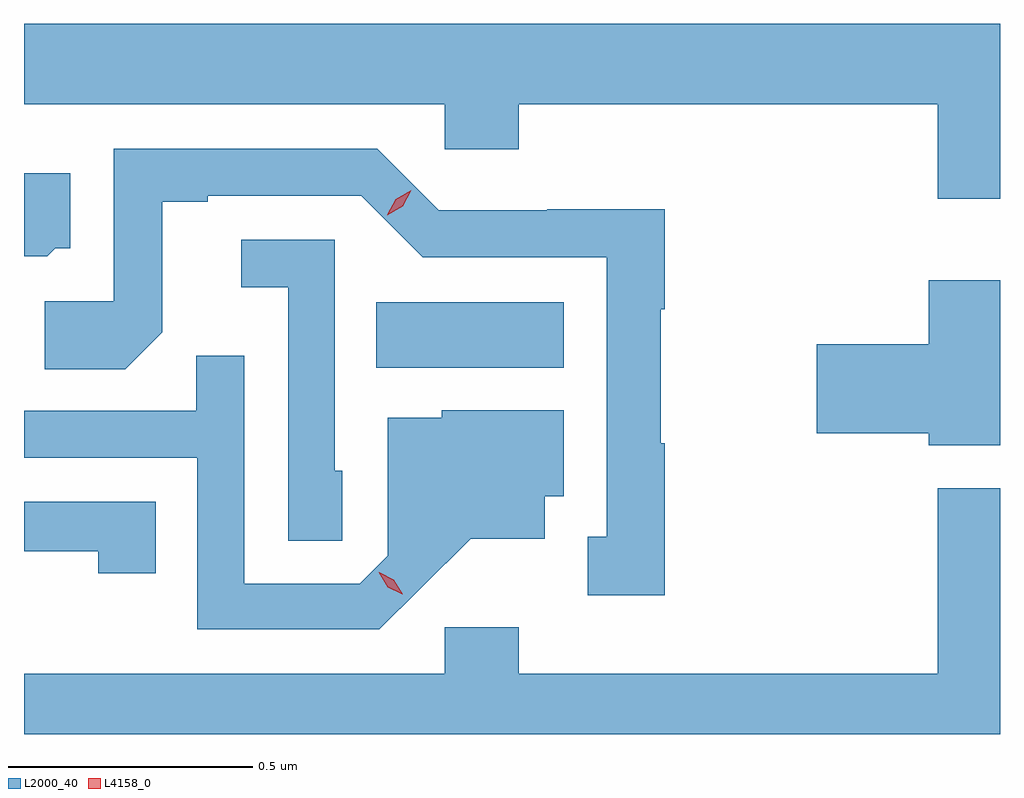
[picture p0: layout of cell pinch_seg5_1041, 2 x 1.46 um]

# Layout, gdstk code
import gdstk
lib = gdstk.Library(unit=1e-6, precision=1e-09)
def R(c, l, rs):  # rectangles x0, y0, x1, y1
    for r in rs: c.add(gdstk.rectangle(r[:2], r[2:], *l))
def P(c, l, *ps):  # polygons
    for p in ps: c.add(gdstk.Polygon(p, *l))
L2000_40 = (2000, 40)
L4158_0 = (4158, 0)

pinch_seg5_1041 = lib.new_cell('pinch_seg5_1041')
R(pinch_seg5_1041, L2000_40, [(735.214,842.9,735.598,843.034)])
P(pinch_seg5_1041, L2000_40, [(736.492,843.604),(734.492,843.604),(734.492,843.44),(735.354,843.44),(735.354,843.347),(735.506,843.347),(735.506,843.44),(736.364,843.44),(736.364,843.246),(736.492,843.246)],
  [(735.805,842.745),(735.797,842.745),(735.797,843.019),(735.805,843.019),(735.805,843.224),(735.564,843.224),(735.564,843.222),(735.342,843.222),(735.216,843.348),(734.676,843.348),(734.676,843.036),(734.535,843.036),(734.535,842.896),(734.699,842.896),(734.775,842.972),(734.775,843.24),(734.869,843.24),(734.869,843.252),(735.183,843.252),(735.309,843.126),(735.686,843.126),(735.686,842.553),(735.647,842.553),(735.647,842.433),(735.805,842.433)],
  [(734.556,843.144),(734.587,843.144),(734.587,843.298),(734.492,843.298),(734.492,843.128),(734.54,843.128)],
  [(735.144,842.688),(735.129,842.688),(735.129,843.162),(734.937,843.162),(734.937,843.065),(735.033,843.065),(735.033,842.545),(735.144,842.545)],
  [(736.492,843.079),(736.346,843.079),(736.346,842.948),(736.116,842.948),(736.116,842.765),(736.346,842.765),(736.346,842.741),(736.492,842.741)],
  [(735.304,842.447),(735.407,842.549),(735.559,842.549),(735.559,842.636),(735.598,842.636),(735.598,842.812),(735.348,842.812),(735.348,842.797),(735.237,842.797),(735.237,842.514),(735.18,842.457),(734.943,842.457),(734.943,842.924),(734.845,842.924),(734.845,842.811),(734.492,842.811),(734.492,842.715),(734.847,842.715),(734.847,842.364),(735.22,842.364)],
  [(736.492,842.653),(736.364,842.653),(736.364,842.272),(735.506,842.272),(735.506,842.368),(735.354,842.368),(735.354,842.272),(734.492,842.272),(734.492,842.149),(736.492,842.149)],
  [(734.762,842.625),(734.492,842.625),(734.492,842.524),(734.644,842.524),(734.644,842.478),(734.762,842.478)])
P(pinch_seg5_1041, L4158_0, [(735.236,843.212),(735.236,843.213),(735.254,843.245),(735.286,843.263),(735.286,843.263),(735.286,843.263),(735.268,843.231),(735.236,843.212)],
  [(735.267,842.435),(735.237,842.45),(735.219,842.48),(735.219,842.48),(735.22,842.48),(735.25,842.465),(735.268,842.435),(735.268,842.435)])

lib.write_gds('pinch_seg5_1041.gds')
